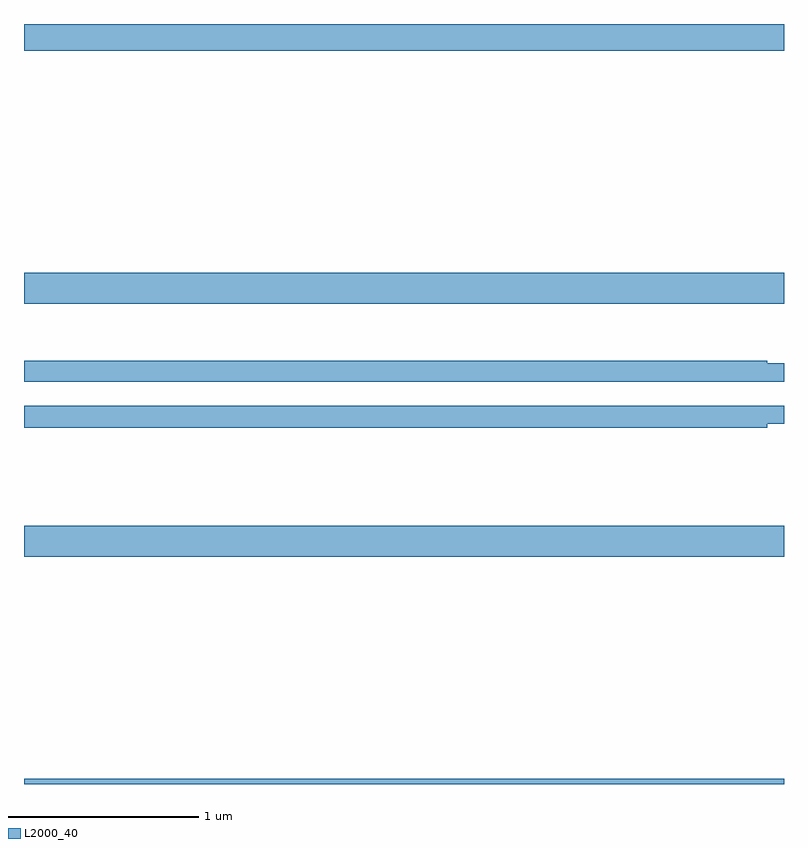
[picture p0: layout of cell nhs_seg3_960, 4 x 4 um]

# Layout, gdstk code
import gdstk
lib = gdstk.Library(unit=1e-6, precision=1e-09)
def R(c, l, rs):  # rectangles x0, y0, x1, y1
    for r in rs: c.add(gdstk.rectangle(r[:2], r[2:], *l))
def P(c, l, *ps):  # polygons
    for p in ps: c.add(gdstk.Polygon(p, *l))
L2000_40 = (2000, 40)

nhs_seg3_960 = lib.new_cell('nhs_seg3_960')
R(nhs_seg3_960, L2000_40, [(161,686.4,165,686.428), (161,687.596,165,687.76), (161,688.928,165,689.092), (161,690.26,165,690.4)])
P(nhs_seg3_960, L2000_40, [(165,688.614),(164.912,688.614),(164.912,688.627),(161,688.627),(161,688.518),(165,688.518)],
  [(164.912,688.295),(165,688.295),(165,688.392),(161,688.392),(161,688.276),(164.912,688.276)])

lib.write_gds('nhs_seg3_960.gds')
